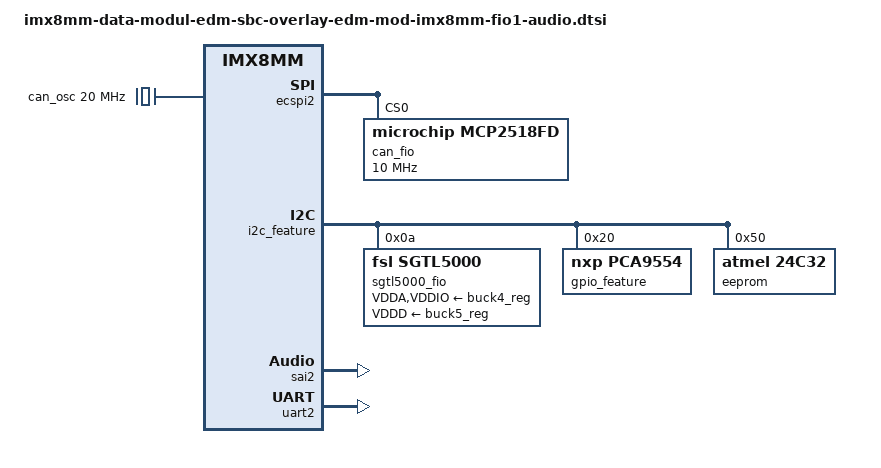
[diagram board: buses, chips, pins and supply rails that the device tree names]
// SPDX-License-Identifier: (GPL-2.0+ OR MIT)
/*
 * Copyright 2026 Marek Vasut
 */

#include <dt-bindings/gpio/gpio.h>
#include <dt-bindings/interrupt-controller/arm-gic.h>

&{/} {
	can_osc: can-osc {
		compatible = "fixed-clock";
		#clock-cells = <0>;
		clock-frequency = <20000000>;
	};

	sound-fio {
		compatible = "simple-audio-card";
		simple-audio-card,name = "SGTL5000-FIO1";
		simple-audio-card,format = "i2s";
		simple-audio-card,bitclock-master = <&codec_dai_fio>;
		simple-audio-card,frame-master = <&codec_dai_fio>;
		simple-audio-card,widgets = "Headphone", "Headphone Jack";
		simple-audio-card,routing = "Headphone Jack", "HP_OUT";

		simple-audio-card,cpu {
			sound-dai = <&sai2>;
		};

		codec_dai_fio: simple-audio-card,codec {
			sound-dai = <&sgtl5000_fio>;
		};
	};
};

&ecspi2 {
	#address-cells = <1>;
	#size-cells = <0>;
	status = "okay";

	can_fio: can@0 {
		compatible = "microchip,mcp2518fd";
		reg = <0>;
		clocks = <&can_osc>;
		spi-max-frequency = <10000000>;
	};
};

&i2c_feature {	/* Feature connector I2C */
	#address-cells = <1>;
	#size-cells = <0>;

	sgtl5000_fio: codec@a {
		compatible = "fsl,sgtl5000";
		reg = <0x0a>;
		#sound-dai-cells = <0>;
		clocks = <&sai5clk 1>;
		VDDA-supply = <&buck4_reg>;
		VDDD-supply = <&buck5_reg>;
		VDDIO-supply = <&buck4_reg>;
	};

	gpio_feature: io-expander@20 {
		compatible = "nxp,pca9554";
		reg = <0x20>;
		#gpio-cells = <2>;
		gpio-controller;
		#interrupt-cells = <2>;
		interrupt-controller;
		gpio-line-names =
			"GPI0", "GPI1", "GPI2", "GPI3",
			"GPO0", "GPO1", "GPO2", "GPO3";
	};

	eeprom@50 {
		compatible = "atmel,24c32";
		reg = <0x50>;
		pagesize = <32>;
	};
};

&sai2 {
	pinctrl-names = "default";
	pinctrl-0 = <&pinctrl_sai2>;
	assigned-clock-rates = <24576000>;
	fsl,sai-asynchronous;
	fsl,sai-mclk-direction-output;
	status = "okay";
};

&uart2 {	/* RS422 J12 */
	linux,rs485-enabled-at-boot-time;
	uart-has-rtscts;
	status = "okay";
};

/* UART4 is blocked by RDC and used as CM4 console UART */
&uart4 {	/* UART to 1-Wire J5 */
	status = "disabled";
};
